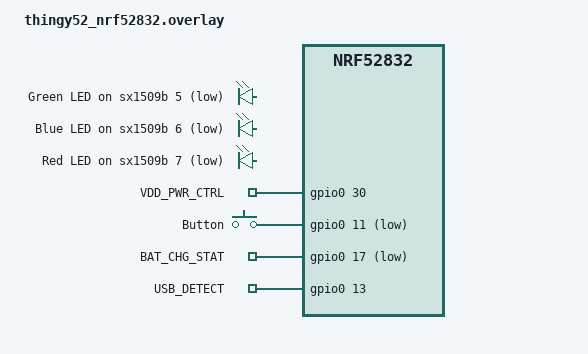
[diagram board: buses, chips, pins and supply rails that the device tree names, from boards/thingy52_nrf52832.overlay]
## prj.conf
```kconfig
#
# Copyright (c) 2019 Nordic Semiconductor ASA
#
# SPDX-License-Identifier: LicenseRef-BSD-5-Clause-Nordic
#
CONFIG_NCS_SAMPLES_DEFAULTS=y

# General configuration
CONFIG_SYSTEM_WORKQUEUE_STACK_SIZE=2048
CONFIG_FLASH=y
CONFIG_FLASH_MAP=y
CONFIG_FCB=y
CONFIG_SETTINGS=y
CONFIG_HWINFO=y
CONFIG_LOG=n
CONFIG_LOG_PRINTK=n

CONFIG_BT_MESH_DK_PROV=y

# Bluetooth configuration
CONFIG_BT=y
CONFIG_BT_COMPANY_ID=0x0059
CONFIG_BT_DEVICE_NAME="Mesh Light"
CONFIG_BT_L2CAP_RX_MTU=69
CONFIG_BT_L2CAP_TX_MTU=69
CONFIG_BT_L2CAP_TX_BUF_COUNT=8
CONFIG_BT_LL_SW_SPLIT=y
CONFIG_BT_OBSERVER=y
CONFIG_BT_PERIPHERAL=y
CONFIG_BT_SETTINGS=y
CONFIG_BT_HCI_ACL_FLOW_CONTROL=y

# Disable unused Bluetooth features
CONFIG_BT_CTLR_DUP_FILTER_LEN=0
CONFIG_BT_CTLR_LE_ENC=n
CONFIG_BT_DATA_LEN_UPDATE=n
CONFIG_BT_PHY_UPDATE=n
CONFIG_BT_CTLR_CHAN_SEL_2=n
CONFIG_BT_CTLR_MIN_USED_CHAN=n
CONFIG_BT_CTLR_PRIVACY=n

# Bluetooth Mesh configuration
CONFIG_BT_MESH=y
CONFIG_BT_MESH_RELAY=y
CONFIG_BT_MESH_FRIEND=y
CONFIG_BT_MESH_ADV_BUF_COUNT=13
CONFIG_BT_MESH_TX_SEG_MAX=10
CONFIG_BT_MESH_PB_GATT=y
CONFIG_BT_MESH_GATT_PROXY=y

# Bluetooth Mesh models
CONFIG_BT_MESH_ONOFF_SRV=y

CONFIG_DEBUG=y
```

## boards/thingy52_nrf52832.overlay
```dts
/*
 * Copyright (c) 2020 Daniel Veilleux
 *
 * SPDX-License-Identifier: Apache-2.0
 */

/ {
	leds {
		compatible = "gpio-leds";
		/* Lightwell RGB */
		led0: led_0 {
			gpios = <&sx1509b 5 GPIO_ACTIVE_LOW>;
			label = "Green LED";
		};
		led1: led_1 {
			gpios = <&sx1509b 6 GPIO_ACTIVE_LOW>;
			label = "Blue LED";
		};
		led2: led_2 {
			gpios = <&sx1509b 7 GPIO_ACTIVE_LOW>;
			label = "Red LED";
		};
		VDD_PWR_CTRL: vdd_pwr_ctrl {
			gpios = <&gpio0 30 GPIO_ACTIVE_HIGH>;
			label = "VDD_PWR_CTRL";
		};
	};

	buttons {
		compatible = "gpio-keys";
		button0: button_0 {
			/* gpio flags need validation */
			gpios = <&gpio0 11 (GPIO_PULL_UP | GPIO_ACTIVE_LOW)>;
			label = "Button";
		};
    	BAT_CHG_STATE: bat_chg_stat {
			gpios = <&gpio0 17 GPIO_ACTIVE_LOW>;
			label = "BAT_CHG_STAT";
		};
    	USB_DETECT: usb_detect {
			gpios = <&gpio0 13 GPIO_ACTIVE_HIGH>;
			label = "USB_DETECT";
		};
	};
};
```

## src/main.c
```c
/*
 * Copyright (c) 2020 Daniel Veilleux
 *
 * SPDX-License-Identifier: LicenseRef-BSD-5-Clause-Nordic
 */

#include <device.h>
#include <drivers/gpio.h>
#include <bluetooth/bluetooth.h>
#include <bluetooth/mesh/models.h>
#include <bluetooth/mesh/dk_prov.h>
#include "model_handler.h"
#include "fogger.h"


enum fogger_elem {
    FOGGER_ELEM_BUTTON,
    FOGGER_ELEM_READY
};

static const char * const   m_button_port  = DT_GPIO_LABEL(DT_NODELABEL(button0), gpios);
static const u8_t           m_button_pin   = DT_GPIO_PIN(DT_NODELABEL(button0),   gpios);
static const u32_t          m_button_flags = DT_GPIO_FLAGS(DT_NODELABEL(button0), gpios);
static struct device       *m_button_dev;

static struct gpio_callback m_gpio_cb_data;

static const char * const   m_err_led_port  = DT_GPIO_LABEL(DT_NODELABEL(led2), gpios);
static const u8_t           m_err_led_pin   = DT_GPIO_PIN(DT_NODELABEL(led2),   gpios);
static const u32_t          m_err_led_flags = DT_GPIO_FLAGS(DT_NODELABEL(led2), gpios);
static struct device       *m_err_led_dev;

static bool m_button_pressed;

static void input_changed(struct device *dev, struct gpio_callback *cb, u32_t pins)
{
    /* The pins variable is a mask that describes pins in the form (1<<PIN_NUMBER). */
    int val;

    // TODO: This will be called from interrupt priority 5.

    if (dev == m_button_dev && (pins & BIT(m_button_pin))) {
        val = gpio_pin_get(dev, m_button_pin);
        if (val) {
            m_button_pressed = true;
            fogger_start();
        } else {
            m_button_pressed = false;
            fogger_stop();
        }
    }
}

static int gpio_init(void)
{
	int ret;

    m_button_dev = device_get_binding(m_button_port);
    if (!m_button_dev) {
        return -ENODEV;
    }

    m_err_led_dev = device_get_binding(m_err_led_port);
    if (!m_err_led_dev) {
        return -ENODEV;
    }

    ret = gpio_pin_configure(m_button_dev, m_button_pin, (GPIO_INPUT | m_button_flags));
    if (ret != 0) {
        return ret;
    }

    ret = gpio_pin_configure(m_err_led_dev, m_err_led_pin, (GPIO_OUTPUT | m_err_led_flags));
    if (ret != 0) {
        return ret;
    }

    ret = gpio_pin_interrupt_configure(m_button_dev,
                                       m_button_pin,
                                       GPIO_INT_EDGE_BOTH);
    if (ret != 0) {
        return ret;
    }

	gpio_init_callback(&m_gpio_cb_data, input_changed, BIT(m_button_pin));
    gpio_add_callback(m_button_dev, &m_gpio_cb_data);

    return 0;
}

static void oops(void)
{
    /* TODO: Put the system into a safe state and then go to system_off? */
    gpio_pin_set(m_err_led_dev, m_err_led_pin, 1);
    k_oops();
}

void model_handler_callback(uint8_t elem_indx, bool status)
{
    // TODO: This could be called from threads with -1 or -8 priority.
    switch (elem_indx) {
    case FOGGER_ELEM_BUTTON:
        if (status) {
            fogger_start();
        } else {
            fogger_stop();
        }
        break;
    case FOGGER_ELEM_READY:
        // TODO: Either ignore or cache the status and reply immediately wtih the actual value.
        break;
    default:
        oops();
    }
}

void fogger_callback(enum fogger_state status)
{
    int err;

    switch (status) {
    case FOGGER_STATE_HEATING:
        err = model_handler_elem_update(FOGGER_ELEM_BUTTON, false);
        if (err) {
            oops();
            return;
        }
        err = model_handler_elem_update(FOGGER_ELEM_READY, false);
        if (err) {
            oops();
            return;
        }
        break;
    case FOGGER_STATE_READY:
        if (m_button_pressed) {
            fogger_start();
        }
        err = model_handler_elem_update(FOGGER_ELEM_BUTTON, false);
        if (err) {
            oops();
            return;
        }
        err = model_handler_elem_update(FOGGER_ELEM_READY, true);
        if (err) {
            oops();
            return;
        }
        break;
    case FOGGER_STATE_FOGGING:
        err = model_handler_elem_update(FOGGER_ELEM_BUTTON, true);
        if (err) {
            oops();
            return;
        }
        err = model_handler_elem_update(FOGGER_ELEM_READY, true);
        if (err) {
            oops();
            return;
        }
        break;
    default:
        oops();
        break;
    }
}

static void bt_ready(int err)
{
    const struct bt_mesh_comp *p_comp;
    enum fogger_state          state;

    if (err) {
        oops();
        return;
    }

    err = model_handler_init(&p_comp, &model_handler_callback);
    if (err) {
        oops();
        return;
    }

    err = bt_mesh_init(bt_mesh_dk_prov_init(), p_comp);
    if (err) {
        oops();
        return;
    }

    if (IS_ENABLED(CONFIG_SETTINGS)) {
        settings_load();
    }

    /* This will be a no-op if settings_load() loaded provisioning info */
    bt_mesh_prov_enable(BT_MESH_PROV_ADV | BT_MESH_PROV_GATT);

    err = fogger_state_get(&state);
    if (err) {
        oops();
        return;
    }

    fogger_callback(state);
}

int main(void)
{
	int err;

    err = gpio_init();
    if (err) {
        oops();
    }

    m_button_pressed = gpio_pin_get(m_button_dev, m_button_pin);

    err = fogger_init(&fogger_callback);
    if (err) {
        oops();
    }

	err = bt_enable(bt_ready);
	if (err) {
        oops();
	}

    return 0;
}
```

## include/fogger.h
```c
/*
 * Copyright (c) 2020 Daniel Veilleux
 *
 * SPDX-License-Identifier: LicenseRef-BSD-5-Clause-Nordic
 */

#ifndef FOGGER_H__
#define FOGGER_H__

enum fogger_state {
	FOGGER_STATE_HEATING,
	FOGGER_STATE_READY,
	FOGGER_STATE_FOGGING
};

typedef void (*fogger_status_cb)(enum fogger_state);

/**
 * @brief Initialize GPIO and internal state
 *
 * @retval  0 success
 * @retval -2 GPIO init failed
 */
int fogger_init(fogger_status_cb status_cb);

/**
 * @brief Get the current state of the fogger
 *
 * @retval -1 module has not been initialized
 * @retval -2 state is NULL
 */
int fogger_state_get(enum fogger_state *state);

/**
 * @brief Start producing fog, if possible
 *
 * Attempt to start the fog machine. Has no effect if the machine is currently
 * active or is not ready because it is heating.
 *
 * @retval -1 module has not been initialized
 */
int fogger_start(void);

/**
 * @brief Stop producing fog
 *
 * Ensure that the fog machine is not producing fog. Has no effect if the
 * machine is not currently fogging.
 *
 * @retval -1 module has not been initialized
 */
int fogger_stop(void);

#endif /* FOGGER_H__ */
```

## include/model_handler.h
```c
/*
 * Copyright (c) 2019 Nordic Semiconductor ASA
 *
 * SPDX-License-Identifier: LicenseRef-BSD-5-Clause-Nordic
 */

/**
 * @file
 * @brief Model handler
 */

#ifndef MODEL_HANDLER_H__
#define MODEL_HANDLER_H__

#include <bluetooth/mesh.h>

#ifdef __cplusplus
extern "C" {
#endif

#define ELEMENT_COUNT 2

/**
 * @brief Initialize GPIO and workqueue items
 */
const struct bt_mesh_comp *model_handler_init(void);

/**
 * @brief Set the specified element's status
 *
 * @retval  0 Success
 * @retval -1 module has not been initialized
 * @retval -2 element_index is invalid
 */
int model_handler_elem_update(uint8_t element_indx, bool status);

#ifdef __cplusplus
}
#endif

#endif /* MODEL_HANDLER_H__ */
```

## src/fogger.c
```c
/*
 * Copyright (c) 2020 Daniel Veilleux
 *
 * SPDX-License-Identifier: LicenseRef-BSD-5-Clause-Nordic
 */

#include <drivers/gpio.h>
#include "fogger.h"

static const char * const   m_usb_detect_port  = DT_GPIO_LABEL(DT_NODELABEL(usb_detect), gpios);
static const u8_t           m_usb_detect_pin   = DT_GPIO_PIN(DT_NODELABEL(usb_detect),   gpios);
static const u32_t          m_usb_detect_flags = DT_GPIO_FLAGS(DT_NODELABEL(usb_detect), gpios);
static struct device       *m_usb_detect_dev;

static struct gpio_callback m_gpio_cb_data;

/*
static const char * const   m_relay_ctrl_port  = DT_GPIO_LABEL(DT_NODELABEL(relay_ctrl), gpios);
static const u8_t           m_relay_ctrl_pin   = DT_GPIO_PIN(DT_NODELABEL(relay_ctrl),   gpios);
static const u32_t          m_relay_ctrl_flags = DT_GPIO_FLAGS(DT_NODELABEL(relay_ctrl), gpios);
*/
static const char * const   m_relay_ctrl_port  = DT_GPIO_LABEL(DT_NODELABEL(led0), gpios);
static const u8_t           m_relay_ctrl_pin   = DT_GPIO_PIN(DT_NODELABEL(led0),   gpios);
static const u32_t          m_relay_ctrl_flags = DT_GPIO_FLAGS(DT_NODELABEL(led0), gpios);
static struct device       *m_relay_ctrl_dev;

static bool             m_initialized = false;
static bool             m_relay_engaged;
static bool             m_machine_ready;
static fogger_status_cb m_status_cb;

static enum fogger_state status_get(void)
{
    if (!m_machine_ready) {
        return FOGGER_STATE_HEATING;
    } else if (m_relay_engaged) {
        return FOGGER_STATE_FOGGING;
    } else {
        return FOGGER_STATE_READY;
    }
}

static void status_notify(void)
{
    if (NULL != m_status_cb) {
        m_status_cb(status_get());
    }
}

static bool relay_set(bool state)
{
    if (state) {
        if (!m_relay_engaged) {
            m_relay_engaged = true;
            gpio_pin_set(m_relay_ctrl_dev, m_relay_ctrl_pin, 1);
            return true;
        }
    } else {
        if (m_relay_engaged) {
            m_relay_engaged = false;
            gpio_pin_set(m_relay_ctrl_dev, m_relay_ctrl_pin, 0);
            return true;
        }
    }
    return false;
}

static void input_changed(struct device *dev, struct gpio_callback *cb, u32_t pins)
{
    /* The pins variable is a mask that describes pins in the form (1<<PIN_NUMBER). */
    int val;

    if (dev == m_usb_detect_dev && (pins & BIT(m_usb_detect_pin))) {
        val = gpio_pin_get(dev, m_usb_detect_pin);
        if (val) {
            m_machine_ready = true;
        } else {
            m_machine_ready = false;
            (void) relay_set(false);
        }
        status_notify();
    }
}

static int gpio_init(void)
{
    int ret;

    m_usb_detect_dev = device_get_binding(m_usb_detect_port);
    if (!m_usb_detect_dev) {
        return -ENODEV;
    }

    m_relay_ctrl_dev = device_get_binding(m_relay_ctrl_port);
    if (!m_relay_ctrl_dev) {
        return -ENODEV;
    }

    ret = gpio_pin_configure(m_usb_detect_dev, m_usb_detect_pin, (GPIO_INPUT | m_usb_detect_flags));
    if (ret != 0) {
        return ret;
    }

    ret = gpio_pin_configure(m_relay_ctrl_dev, m_relay_ctrl_pin, (GPIO_OUTPUT | m_relay_ctrl_flags));
    if (ret != 0) {
        return ret;
    }

    ret = gpio_pin_interrupt_configure(m_usb_detect_dev,
                                       m_usb_detect_pin,
                                       GPIO_INT_EDGE_BOTH);
    if (ret != 0) {
        return ret;
    }

    gpio_init_callback(&m_gpio_cb_data, input_changed, BIT(m_usb_detect_pin));
    gpio_add_callback(m_usb_detect_dev, &m_gpio_cb_data);

    return 0;
}

int fogger_start(void)
{
    if (!m_initialized) {
        return -1;
    }

    if (m_machine_ready) {
        if (relay_set(true)) {
            status_notify();
        }
    }

    return 0;
}

int fogger_stop(void)
{
    if (!m_initialized) {
        return -1;
    }

    if (relay_set(false)) {
        status_notify();      
    }

    return 0;
}

int fogger_state_get(enum fogger_state *p_state)
{
    if (!m_initialized) {
        return -1;
    }

    if (NULL == p_state) {
        return -2;
    }

    *p_state = status_get();

    return 0;
}

int fogger_init(fogger_status_cb p_status_cb)
{
    int err = gpio_init();
    if (err) {
        return -2;
    }

    gpio_pin_set(m_relay_ctrl_dev, m_relay_ctrl_pin, 0);

    m_relay_engaged  = false;
    m_machine_ready  = gpio_pin_get(m_usb_detect_dev, m_usb_detect_pin);
    m_status_cb      = p_status_cb;
    m_initialized    = true;

    return 0;
}
```

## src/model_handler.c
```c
/*
 * Copyright (c) 2020 Daniel Veilleux
 *
 * SPDX-License-Identifier: LicenseRef-BSD-5-Clause-Nordic
 */

#include <drivers/gpio.h>
#include <bluetooth/bluetooth.h>
#include <bluetooth/mesh/models.h>
#include "model_handler.h"


static bool                 m_initialized = false;
static model_handler_set_cb m_set_cb = NULL;

static const char * const   m_attention_led_port  = DT_GPIO_LABEL(DT_NODELABEL(led1), gpios);
static const u8_t           m_attention_led_pin   = DT_GPIO_PIN(DT_NODELABEL(led1),   gpios);
static const u32_t          m_attention_led_flags = DT_GPIO_FLAGS(DT_NODELABEL(led1), gpios);
static struct device       *m_attention_led_dev;

static void led_set(struct bt_mesh_onoff_srv *srv, struct bt_mesh_msg_ctx *ctx,
            const struct bt_mesh_onoff_set *set,
            struct bt_mesh_onoff_status *rsp);

static void led_get(struct bt_mesh_onoff_srv *srv, struct bt_mesh_msg_ctx *ctx,
            struct bt_mesh_onoff_status *rsp);

static const struct bt_mesh_onoff_srv_handlers onoff_handlers = {
    .set = led_set,
    .get = led_get,
};

struct led_ctx {
    struct bt_mesh_onoff_srv srv;
    struct k_delayed_work work;
    u32_t remaining;
    bool value;
};

static struct led_ctx led_ctx[ELEMENT_COUNT] = {
    [0 ... 1] = {
        .srv = BT_MESH_ONOFF_SRV_INIT(&onoff_handlers),
    }
};

static void led_transition_start(struct led_ctx *led)
{
    int led_idx = led - &led_ctx[0];

    /* As long as the transition is in progress, the onoff
     * state is "on":
     */

    m_set_cb(led_idx, 1);
    k_delayed_work_submit(&led->work, K_MSEC(led->remaining));
    led->remaining = 0;
}

static void led_status(struct led_ctx *led, struct bt_mesh_onoff_status *status)
{
    status->remaining_time =
        k_delayed_work_remaining_get(&led->work) + led->remaining;
    status->target_on_off = led->value;
    /* As long as the transition is in progress, the onoff state is "on": */
    status->present_on_off = led->value || status->remaining_time;
}

static void led_set(struct bt_mesh_onoff_srv *srv, struct bt_mesh_msg_ctx *ctx,
            const struct bt_mesh_onoff_set *set,
            struct bt_mesh_onoff_status *rsp)
{
    struct led_ctx *led = CONTAINER_OF(srv, struct led_ctx, srv);
    int led_idx = led - &led_ctx[0];

    if (set->on_off == led->value) {
        goto respond;
    }

    led->value = set->on_off;
    led->remaining = set->transition->time;

    if (set->transition->delay > 0) {
        k_delayed_work_submit(&led->work,
                      K_MSEC(set->transition->delay));
    } else if (set->transition->time > 0) {
        led_transition_start(led);
    } else {
        m_set_cb(led_idx, set->on_off);
    }

respond:
    if (rsp) {
        led_status(led, rsp);
    }
}

static void led_get(struct bt_mesh_onoff_srv *srv, struct bt_mesh_msg_ctx *ctx,
            struct bt_mesh_onoff_status *rsp)
{
    struct led_ctx *led = CONTAINER_OF(srv, struct led_ctx, srv);

    led_status(led, rsp);
}

static void led_work(struct k_work *work)
{
    struct led_ctx *led = CONTAINER_OF(work, struct led_ctx, work.work);
    int led_idx = led - &led_ctx[0];

    if (led->remaining) {
        led_transition_start(led);
    } else {
        m_set_cb(led_idx, led->value);

        /* Publish the new value at the end of the transition */
        struct bt_mesh_onoff_status status;

        led_status(led, &status);
        bt_mesh_onoff_srv_pub(&led->srv, NULL, &status);
    }
}

/** Configuration server definition */
static struct bt_mesh_cfg_srv cfg_srv = {
    .relay = IS_ENABLED(CONFIG_BT_MESH_RELAY),
    .beacon = BT_MESH_BEACON_ENABLED,
    .frnd = IS_ENABLED(CONFIG_BT_MESH_FRIEND),
    .gatt_proxy = IS_ENABLED(CONFIG_BT_MESH_GATT_PROXY),
    .default_ttl = 7,

    /* 3 transmissions with 20ms interval */
    .net_transmit = BT_MESH_TRANSMIT(2, 20),
    .relay_retransmit = BT_MESH_TRANSMIT(2, 20),
};

/* Set up a repeating delayed work to blink the DK's LEDs when attention is
 * requested.
 */
static struct k_delayed_work attention_blink_work;

static void attention_blink(struct k_work *work)
{
    static bool state=true;
    if (m_attention_led_dev) {
        gpio_pin_set(m_attention_led_dev, m_attention_led_pin, state);
        state = !state;
    }
    k_delayed_work_submit(&attention_blink_work, K_MSEC(100));
}

static void attention_on(struct bt_mesh_model *mod)
{
    k_delayed_work_submit(&attention_blink_work, K_NO_WAIT);
}

static void attention_off(struct bt_mesh_model *mod)
{
    k_delayed_work_cancel(&attention_blink_work);
    if (m_attention_led_dev) {
        gpio_pin_set(m_attention_led_dev, m_attention_led_pin, 0);
    }
}

static const struct bt_mesh_health_srv_cb health_srv_cb = {
    .attn_on = attention_on,
    .attn_off = attention_off,
};

static struct bt_mesh_health_srv health_srv = {
    .cb = &health_srv_cb,
};

BT_MESH_HEALTH_PUB_DEFINE(health_pub, 0);

static struct bt_mesh_elem elements[] = {
    BT_MESH_ELEM(
        1, BT_MESH_MODEL_LIST(
            BT_MESH_MODEL_CFG_SRV(&cfg_srv),
            BT_MESH_MODEL_HEALTH_SRV(&health_srv, &health_pub),
            BT_MESH_MODEL_ONOFF_SRV(&led_ctx[0].srv)),
        BT_MESH_MODEL_NONE),
    BT_MESH_ELEM(
        2, BT_MESH_MODEL_LIST(BT_MESH_MODEL_ONOFF_SRV(&led_ctx[1].srv)),
        BT_MESH_MODEL_NONE),
};

static const struct bt_mesh_comp comp = {
    .cid = CONFIG_BT_COMPANY_ID,
    .elem = elements,
    .elem_count = ARRAY_SIZE(elements),
};

int model_handler_elem_update(uint8_t elem_indx, bool status)
{
    struct bt_mesh_onoff_status onoff_status;
    struct led_ctx *led;

    if (!m_initialized) {
        return -1;
    }

    if (ELEMENT_COUNT <= elem_indx) {
        return -2;
    }

    led            = &led_ctx[elem_indx];
    led->value     = status;
    led->remaining = 0;

    onoff_status.remaining_time = 0;
    onoff_status.target_on_off  = status;
    onoff_status.present_on_off = status;

    bt_mesh_onoff_srv_pub(&led->srv, NULL, &onoff_status);

    return 0;
};

const int model_handler_init(const struct bt_mesh_comp **p_comp, model_handler_set_cb p_set_cb)
{
    if (NULL == p_set_cb) {
        return -1;
    }

    *p_comp = &comp;

    k_delayed_work_init(&attention_blink_work, attention_blink);

    for (int i = 0; i < ARRAY_SIZE(led_ctx); ++i) {
        k_delayed_work_init(&led_ctx[i].work, led_work);
    }

    m_attention_led_dev = device_get_binding(m_attention_led_port);
    if (m_attention_led_dev) {
        (void) gpio_pin_configure(m_attention_led_dev,
                                  m_attention_led_pin,
                                  (GPIO_OUTPUT | m_attention_led_flags));
    }

    m_set_cb      = p_set_cb;
    m_initialized = true;

    return 0;
}
```
